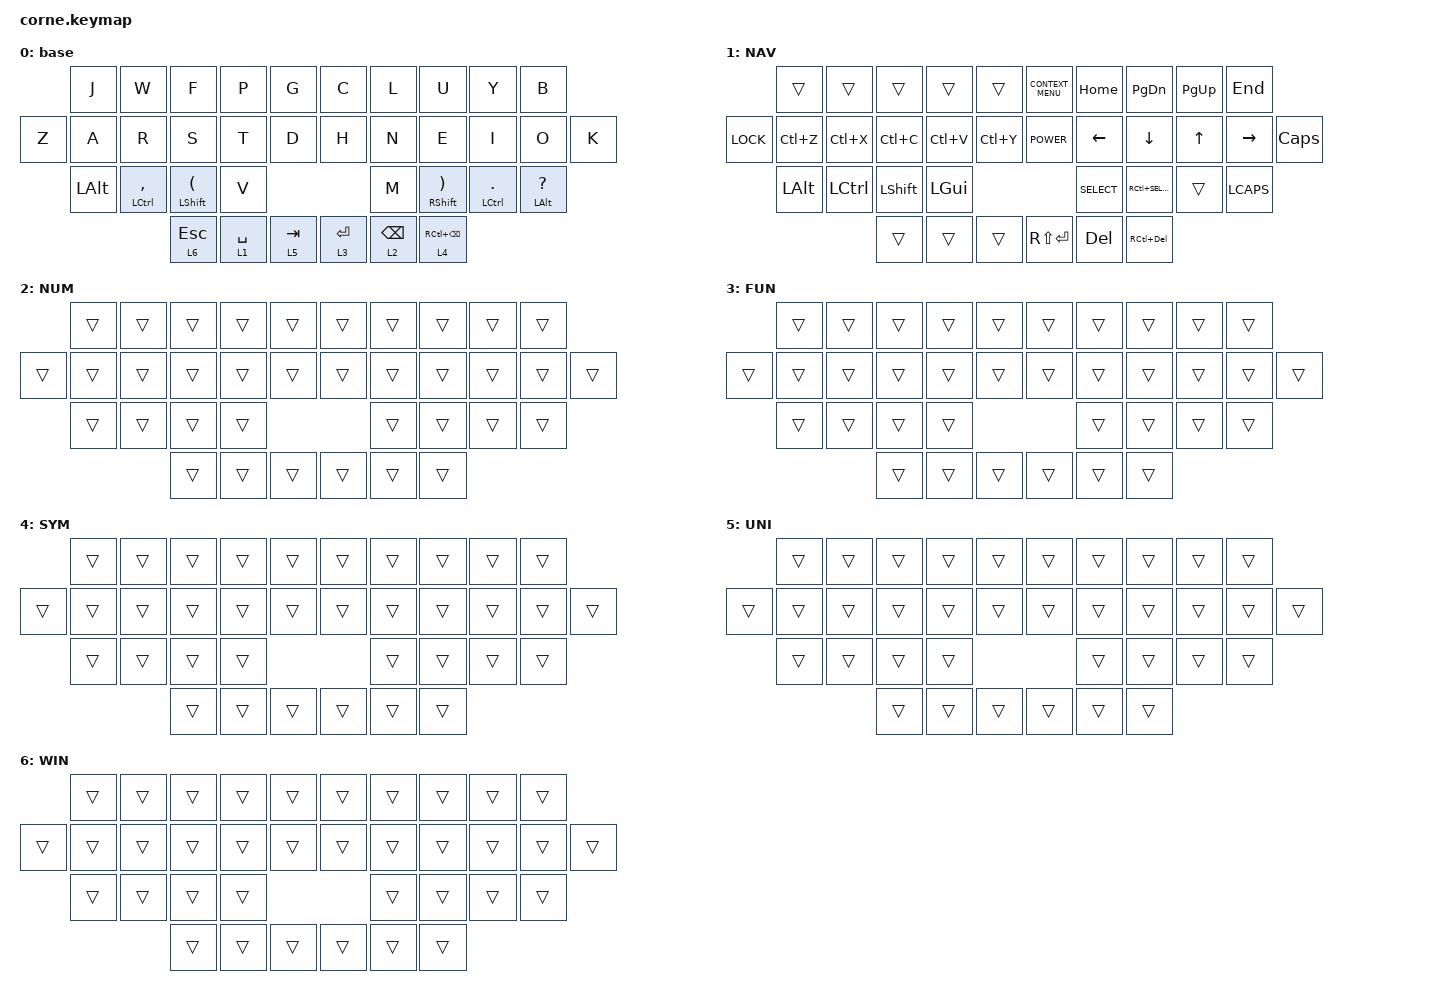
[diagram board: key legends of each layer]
/*
 * Copyright (c) 2020 The ZMK Contributors
 *
 * SPDX-License-Identifier: MIT
 */

#include <behaviors.dtsi>
#include <dt-bindings/zmk/keys.h>

/ {
    behaviors {
        hm: homerow_mods {
            compatible = "zmk,behavior-hold-tap";
            label = "HOMEROW_MODS";
            #binding-cells = <2>;
            tapping-term-ms = <150>;
            quick-tap-ms = <0>;
            flavor = "tap-preferred";
            bindings =
                <&kp>,
                <&kp>;
        };
    };

    combos {
        compatible = "zmk,combos";
    };

    macros {
        _: new_macro {
            compatible = "zmk,behavior-macro";
            label = "";
            #binding-cells = <0>;
            bindings = <>;
        };
    };

    keymap {
        compatible = "zmk,keymap";

        base {
            bindings = <
            &kp J            &kp W                        &kp F        &kp P      &kp G              &kp C            &kp L                         &kp U          &kp Y              &kp B
  &kp Z     &kp A            &kp R                        &kp S        &kp T      &kp D              &kp H            &kp N                         &kp E          &kp I              &kp O   &kp K
         &kp LALT  &hm LCTRL COMMA  &hm LSHIFT LEFT_PARENTHESIS        &kp V                                          &kp M  &hm RSHIFT RIGHT_PARENTHESIS  &hm LCTRL DOT  &hm LALT QUESTION
                                                      &lt 6 ESC  &lt 1 SPACE  &lt 5 TAB          &lt 3 RET  &lt 2 BACKSPACE           &lt 4 RC(BACKSPACE)
            >;
        };

        NAV {
            bindings = <
                   &trans     &trans     &trans     &trans     &trans          &kp K_CONTEXT_MENU      &kp HOME         &kp PG_DN  &kp PG_UP    &kp END
 &kp K_LOCK     &kp LC(Z)  &kp LC(X)  &kp LC(C)  &kp LC(V)  &kp LC(Y)                 &kp K_POWER      &kp LEFT          &kp DOWN     &kp UP  &kp RIGHT  &kp CAPS
             &kp LEFT_ALT  &kp LCTRL  &kp LSHFT   &kp LGUI                                         &kp K_SELECT  &kp RC(K_SELECT)     &trans  &kp LCAPS
                                         &trans     &trans     &trans               &kp RS(ENTER)    &kp DELETE       &kp RC(DEL)
            >;
        };

        NUM {
            bindings = <
         &trans  &trans  &trans  &trans  &trans          &trans  &trans  &trans  &trans  &trans
 &trans  &trans  &trans  &trans  &trans  &trans          &trans  &trans  &trans  &trans  &trans  &trans
         &trans  &trans  &trans  &trans                          &trans  &trans  &trans  &trans
                         &trans  &trans  &trans          &trans  &trans  &trans
            >;
        };

        FUN {
            bindings = <
         &trans  &trans  &trans  &trans  &trans          &trans  &trans  &trans  &trans  &trans
 &trans  &trans  &trans  &trans  &trans  &trans          &trans  &trans  &trans  &trans  &trans  &trans
         &trans  &trans  &trans  &trans                          &trans  &trans  &trans  &trans
                         &trans  &trans  &trans          &trans  &trans  &trans
            >;
        };

        SYM {
            bindings = <
         &trans  &trans  &trans  &trans  &trans          &trans  &trans  &trans  &trans  &trans
 &trans  &trans  &trans  &trans  &trans  &trans          &trans  &trans  &trans  &trans  &trans  &trans
         &trans  &trans  &trans  &trans                          &trans  &trans  &trans  &trans
                         &trans  &trans  &trans          &trans  &trans  &trans
            >;
        };

        UNI {
            bindings = <
         &trans  &trans  &trans  &trans  &trans          &trans  &trans  &trans  &trans  &trans
 &trans  &trans  &trans  &trans  &trans  &trans          &trans  &trans  &trans  &trans  &trans  &trans
         &trans  &trans  &trans  &trans                          &trans  &trans  &trans  &trans
                         &trans  &trans  &trans          &trans  &trans  &trans
            >;
        };

        WIN {
            bindings = <
         &trans  &trans  &trans  &trans  &trans          &trans  &trans  &trans  &trans  &trans
 &trans  &trans  &trans  &trans  &trans  &trans          &trans  &trans  &trans  &trans  &trans  &trans
         &trans  &trans  &trans  &trans                          &trans  &trans  &trans  &trans
                         &trans  &trans  &trans          &trans  &trans  &trans
            >;
        };
    };
};
